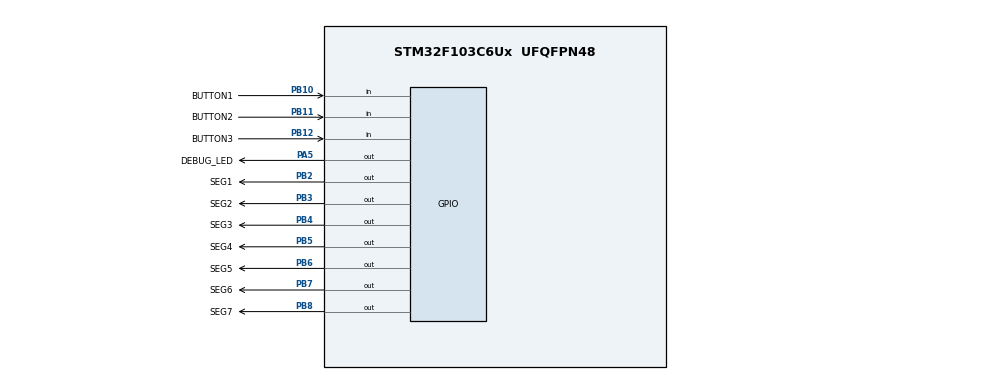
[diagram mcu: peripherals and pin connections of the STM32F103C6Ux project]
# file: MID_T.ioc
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Mcu.Family=STM32F1
Mcu.Name=STM32F103C6Ux
Mcu.Package=UFQFPN48
NVIC.PriorityGroup=NVIC_PRIORITYGROUP_4
NVIC.TIM2_IRQn=true\:0\:0\:false\:false\:true\:true\:true
PA5.GPIO_Label=DEBUG_LED
PA5.Signal=GPIO_Output
PB10.GPIO_Label=BUTTON1
PB10.GPIO_PuPd=GPIO_PULLUP
PB10.Signal=GPIO_Input
PB11.GPIO_Label=BUTTON2
PB11.GPIO_PuPd=GPIO_PULLUP
PB11.Signal=GPIO_Input
PB12.GPIO_Label=BUTTON3
PB12.GPIO_PuPd=GPIO_PULLUP
PB12.Signal=GPIO_Input
PB2.GPIO_Label=SEG1
PB2.Signal=GPIO_Output
PB3.GPIO_Label=SEG2
PB3.Signal=GPIO_Output
PB4.GPIO_Label=SEG3
PB4.Signal=GPIO_Output
PB5.GPIO_Label=SEG4
PB5.Signal=GPIO_Output
PB6.GPIO_Label=SEG5
PB6.Signal=GPIO_Output
PB7.GPIO_Label=SEG6
PB7.Signal=GPIO_Output
PB8.GPIO_Label=SEG7
PB8.Signal=GPIO_Output
ProjectManager.HeapSize=0x200
ProjectManager.StackSize=0x400
ProjectManager.TargetToolchain=STM32CubeIDE
RCC.APB1Freq_Value=8000000
RCC.APB2Freq_Value=8000000
TIM2.Period=9
TIM2.Prescaler=7999
VP_SYS_VS_ND.Mode=No_Debug
VP_TIM2_VS_ClockSourceINT.Mode=Internal
board=custom

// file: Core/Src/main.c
/* USER CODE BEGIN Header */
/**
  ******************************************************************************
  * @file           : main.c
  * @brief          : Main program body
  ******************************************************************************
  * @attention
  *
  * <h2><center>&copy; Copyright (c) 2022 STMicroelectronics.
  * All rights reserved.</center></h2>
  *
  * This software component is licensed by ST under BSD 3-Clause license,
  * the "License"; You may not use this file except in compliance with the
  * License. You may obtain a copy of the License at:
  *                        opensource.org/licenses/BSD-3-Clause
  *
  ******************************************************************************
  */
/* USER CODE END Header */
#include <display_7seg.h>
#include "main.h"

/* USER CODE BEGIN Includes */
#include "timer.h"
#include "button.h"
#include "fsm_button.h"
/* USER CODE END Includes */

TIM_HandleTypeDef htim2;

void SystemClock_Config(void);
static void MX_GPIO_Init(void);
static void MX_TIM2_Init(void);

int main(void)
{

  /* MCU Configuration--------------------------------------------------------*/

  /* Reset of all peripherals, Initializes the Flash interface and the Systick. */
  HAL_Init();

  /* Configure the system clock */
  SystemClock_Config();

  /* Initialize all configured peripherals */
  MX_GPIO_Init();
  MX_TIM2_Init();
  /* USER CODE BEGIN 2 */
  HAL_TIM_Base_Start_IT(&htim2);
  /* USER CODE END 2 */

  /* Infinite loop */
  /* USER CODE BEGIN WHILE */
  setTimer1(10);
  setTimer2(10);
  setTimer3(50);
  while (1)
  {
	  fsm_button();
	  fsm_simple_buttons_run();
	  if(timer3_flag==1){
		  HAL_GPIO_TogglePin(DEBUG_LED_GPIO_Port,DEBUG_LED_Pin);
		  setTimer3(50);
	  }
	  /*
	  if(stateOf_FSM_FULL == COUNT_DOWN){
		  HAL_GPIO_WritePin(GPIOA, NORMAL_Pin, RESET);
		  HAL_GPIO_WritePin(GPIOA, HOLD_Pin, RESET);
		  HAL_GPIO_WritePin(GPIOA, PRESS_Pin, RESET);
		  HAL_GPIO_WritePin(GPIOA, DOUBLE_Pin, RESET);
	  }
	  if(buttonState[0] == HOLD_BUTTON){
		  HAL_GPIO_WritePin(GPIOA, NORMAL_Pin, SET);
		  HAL_GPIO_WritePin(GPIOA, HOLD_Pin, RESET);
		  HAL_GPIO_WritePin(GPIOA, PRESS_Pin, SET);
		  HAL_GPIO_WritePin(GPIOA, DOUBLE_Pin, SET);
	  }
	  if(buttonState[0] == PRESS_BUTTON){
		  HAL_GPIO_WritePin(GPIOA, NORMAL_Pin, SET);
		  HAL_GPIO_WritePin(GPIOA, HOLD_Pin, SET);
		  HAL_GPIO_WritePin(GPIOA, PRESS_Pin, RESET);
		  HAL_GPIO_WritePin(GPIOA, DOUBLE_Pin, SET);
	  }
	  if(buttonState[0] == DOUBLE_CLICK){
		  HAL_GPIO_WritePin(GPIOA, NORMAL_Pin, SET);
		  HAL_GPIO_WritePin(GPIOA, HOLD_Pin, SET);
		  HAL_GPIO_WritePin(GPIOA, PRESS_Pin, SET);
		  HAL_GPIO_WritePin(GPIOA, DOUBLE_Pin,RESET);
//		  buttonState = NORMAL_BUTTON;
	  }
	  if(buttonState[0] == CHECK_DOUBLE){
		  HAL_GPIO_WritePin(GPIOA, NORMAL_Pin, SET);
		  HAL_GPIO_WritePin(GPIOA, HOLD_Pin, SET);
		  HAL_GPIO_WritePin(GPIOA, PRESS_Pin, SET);
		  HAL_GPIO_WritePin(GPIOA, DOUBLE_Pin,SET);
	  }
	  */
	  display7SEG(segnum);
    /* USER CODE END WHILE */

  }
}

void SystemClock_Config(void)
{
  RCC_OscInitTypeDef RCC_OscInitStruct = {0};
  RCC_ClkInitTypeDef RCC_ClkInitStruct = {0};

  /** Initializes the RCC Oscillators according to the specified parameters
  * in the RCC_OscInitTypeDef structure.
  */
  RCC_OscInitStruct.OscillatorType = RCC_OSCILLATORTYPE_HSI;
  RCC_OscInitStruct.HSIState = RCC_HSI_ON;
  RCC_OscInitStruct.HSICalibrationValue = RCC_HSICALIBRATION_DEFAULT;
  RCC_OscInitStruct.PLL.PLLState = RCC_PLL_NONE;
  if (HAL_RCC_OscConfig(&RCC_OscInitStruct) != HAL_OK)
  {
    Error_Handler();
  }
  /** Initializes the CPU, AHB and APB buses clocks
  */
  RCC_ClkInitStruct.ClockType = RCC_CLOCKTYPE_HCLK|RCC_CLOCKTYPE_SYSCLK
                              |RCC_CLOCKTYPE_PCLK1|RCC_CLOCKTYPE_PCLK2;
  RCC_ClkInitStruct.SYSCLKSource = RCC_SYSCLKSOURCE_HSI;
  RCC_ClkInitStruct.AHBCLKDivider = RCC_SYSCLK_DIV1;
  RCC_ClkInitStruct.APB1CLKDivider = RCC_HCLK_DIV1;
  RCC_ClkInitStruct.APB2CLKDivider = RCC_HCLK_DIV1;

  if (HAL_RCC_ClockConfig(&RCC_ClkInitStruct, FLASH_LATENCY_0) != HAL_OK)
  {
    Error_Handler();
  }
}

static void MX_TIM2_Init(void)
{

  TIM_ClockConfigTypeDef sClockSourceConfig = {0};
  TIM_MasterConfigTypeDef sMasterConfig = {0};

  htim2.Instance = TIM2;
  htim2.Init.Prescaler = 7999;
  htim2.Init.CounterMode = TIM_COUNTERMODE_UP;
  htim2.Init.Period = 9;
  htim2.Init.ClockDivision = TIM_CLOCKDIVISION_DIV1;
  htim2.Init.AutoReloadPreload = TIM_AUTORELOAD_PRELOAD_DISABLE;
  if (HAL_TIM_Base_Init(&htim2) != HAL_OK)
  {
    Error_Handler();
  }
  sClockSourceConfig.ClockSource = TIM_CLOCKSOURCE_INTERNAL;
  if (HAL_TIM_ConfigClockSource(&htim2, &sClockSourceConfig) != HAL_OK)
  {
    Error_Handler();
  }
  sMasterConfig.MasterOutputTrigger = TIM_TRGO_RESET;
  sMasterConfig.MasterSlaveMode = TIM_MASTERSLAVEMODE_DISABLE;
  if (HAL_TIMEx_MasterConfigSynchronization(&htim2, &sMasterConfig) != HAL_OK)
  {
    Error_Handler();
  }

}

static void MX_GPIO_Init(void)
{
  GPIO_InitTypeDef GPIO_InitStruct = {0};

  /* GPIO Ports Clock Enable */
  __HAL_RCC_GPIOA_CLK_ENABLE();
  __HAL_RCC_GPIOB_CLK_ENABLE();

  /*Configure GPIO pin Output Level */
  HAL_GPIO_WritePin(DEBUG_LED_GPIO_Port, DEBUG_LED_Pin, GPIO_PIN_RESET);

  /*Configure GPIO pin Output Level */
  HAL_GPIO_WritePin(GPIOB, SEG1_Pin|SEG2_Pin|SEG3_Pin|SEG4_Pin
                          |SEG5_Pin|SEG6_Pin|SEG7_Pin, GPIO_PIN_RESET);

  /*Configure GPIO pin : DEBUG_LED_Pin */
  GPIO_InitStruct.Pin = DEBUG_LED_Pin;
  GPIO_InitStruct.Mode = GPIO_MODE_OUTPUT_PP;
  GPIO_InitStruct.Pull = GPIO_NOPULL;
  GPIO_InitStruct.Speed = GPIO_SPEED_FREQ_LOW;
  HAL_GPIO_Init(DEBUG_LED_GPIO_Port, &GPIO_InitStruct);

  /*Configure GPIO pins : SEG1_Pin SEG2_Pin SEG3_Pin SEG4_Pin
                           SEG5_Pin SEG6_Pin SEG7_Pin */
  GPIO_InitStruct.Pin = SEG1_Pin|SEG2_Pin|SEG3_Pin|SEG4_Pin
                          |SEG5_Pin|SEG6_Pin|SEG7_Pin;
  GPIO_InitStruct.Mode = GPIO_MODE_OUTPUT_PP;
  GPIO_InitStruct.Pull = GPIO_NOPULL;
  GPIO_InitStruct.Speed = GPIO_SPEED_FREQ_LOW;
  HAL_GPIO_Init(GPIOB, &GPIO_InitStruct);

  /*Configure GPIO pins : BUTTON1_Pin BUTTON2_Pin BUTTON3_Pin */
  GPIO_InitStruct.Pin = BUTTON1_Pin|BUTTON2_Pin|BUTTON3_Pin;
  GPIO_InitStruct.Mode = GPIO_MODE_INPUT;
  GPIO_InitStruct.Pull = GPIO_PULLUP;
  HAL_GPIO_Init(GPIOB, &GPIO_InitStruct);

}

/* USER CODE BEGIN 4 */
void HAL_TIM_PeriodElapsedCallback(TIM_HandleTypeDef * htim){
	timerRun();
	button_reading();
}
/* USER CODE END 4 */

void Error_Handler(void)
{
  __disable_irq();
  while (1)
  {
  }
}

/************************ (C) COPYRIGHT STMicroelectronics *****END OF FILE****/
